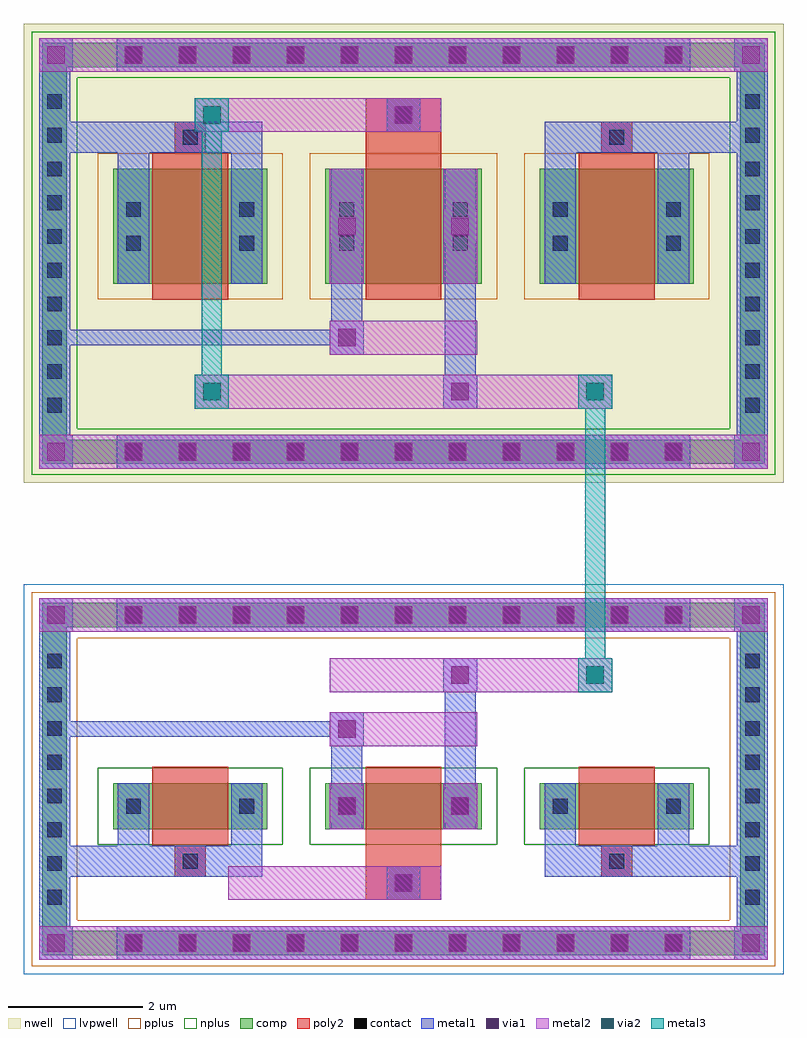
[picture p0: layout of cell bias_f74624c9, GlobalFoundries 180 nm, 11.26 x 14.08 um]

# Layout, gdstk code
import gdstk
lib = gdstk.Library(unit=1e-6, precision=5e-09)
def R(c, l, rs):  # rectangles x0, y0, x1, y1
    for r in rs: c.add(gdstk.rectangle(r[:2], r[2:], *l))
def A(c, l, x, y, w, h, nx, ny, dx, dy):  # array of equal rectangles
    R(c, l, [(x+i*dx, y+j*dy, x+i*dx+w, y+j*dy+h) for i in range(nx) for j in range(ny)])
def P(c, l, *ps):  # polygons
    for p in ps: c.add(gdstk.Polygon(p, *l))
nwell = (21, 0)
comp = (22, 0)
poly2 = (30, 0)
pplus = (31, 0)
nplus = (32, 0)
contact = (33, 0)
metal1 = (34, 0)
via1 = (35, 0)
metal2 = (36, 0)
via2 = (38, 0)
metal3 = (42, 0)
lvpwell = (204, 0)

bias_f74624c9 = lib.new_cell('bias_f74624c9')
R(bias_f74624c9, nwell, [(-5.63,4.39,5.63,11.19), (-5.47,4.55,5.47,11.03)])
A(bias_f74624c9, comp, -4.18, -2.61, 0.36, 0.36, 11, 2, 0.8, 4.86)
A(bias_f74624c9, comp, -5.35, -1.93, 0.36, 0.36, 1, 8, 0, 0.5)
A(bias_f74624c9, comp, 4.99, -1.93, 0.36, 0.36, 1, 8, 0, 0.5)
A(bias_f74624c9, comp, -4.18, 4.67, 0.36, 0.36, 11, 2, 0.8, 5.88)
A(bias_f74624c9, comp, -5.35, 5.36, 0.36, 0.36, 1, 10, 0, 0.5)
A(bias_f74624c9, comp, 4.99, 5.36, 0.36, 0.36, 1, 10, 0, 0.5)
R(bias_f74624c9, comp, [(-4.18,-2.61,4.18,-2.25), (-5.35,-1.93,-4.99,1.93), (4.99,-1.93,5.35,1.93), (-4.3,-0.74,-2.02,-0.06), (-1.16,-0.74,1.16,-0.06), (2.02,-0.74,4.3,-0.06), (-4.18,2.25,4.18,2.61), (-4.18,4.67,4.18,5.03), (-5.35,5.36,-4.99,10.22), (4.99,5.36,5.35,10.22), (-4.3,7.34,-2.02,9.04), (-1.16,7.34,1.16,9.04), (2.02,7.34,4.3,9.04), (-4.18,10.55,4.18,10.91)])
P(bias_f74624c9, comp, [(5.35,2.61),(-5.35,2.61),(-5.35,-2.25),(-4.99,-2.25),(-4.99,2.25),(4.99,2.25),(4.99,-2.25),(-4.99,-2.25),(-5.35,-2.25),(-5.35,-2.61),(5.35,-2.61)],
  [(5.35,4.67),(-5.35,4.67),(-5.35,10.55),(-4.99,10.55),(-4.99,5.03),(4.99,5.03),(4.99,10.55),(-4.99,10.55),(-5.35,10.55),(-5.35,10.91),(5.35,10.91)])
A(bias_f74624c9, poly2, -3.72, -0.985, 1.12, 1.17, 3, 1, 3.16, 0)
A(bias_f74624c9, poly2, -3.72, 7.1, 1.12, 2.18, 3, 1, 3.16, 0)
R(bias_f74624c9, poly2, [(-0.56,-1.79,0.56,-1.29), (-0.18,-1.72,0.18,-1.36), (-3.39,-1.445,-2.93,-0.985), (2.93,-1.445,3.39,-0.985), (-3.34,-1.395,-2.98,-1.035), (2.98,-1.395,3.34,-1.035), (-0.56,-1.29,0.56,-0.985), (-3.39,9.28,-2.93,9.74), (-0.56,9.28,0.56,9.59), (2.93,9.28,3.39,9.74), (-3.34,9.33,-2.98,9.69), (2.98,9.33,3.34,9.69), (-0.56,9.59,0.56,10.09), (-0.18,9.66,0.18,10.02)])
R(bias_f74624c9, pplus, [(-4.53,7.11,-1.79,9.27), (-1.39,7.11,1.39,9.27), (1.79,7.11,4.53,9.27)])
P(bias_f74624c9, pplus, [(5.51,2.77),(-5.51,2.77),(-5.51,-2.09),(-4.83,-2.09),(-4.83,2.09),(4.83,2.09),(4.83,-2.09),(-4.83,-2.09),(-5.51,-2.09),(-5.51,-2.77),(5.51,-2.77)])
R(bias_f74624c9, nplus, [(-4.53,-0.97,-1.79,0.17), (-1.39,-0.97,1.39,0.17), (1.79,-0.97,4.53,0.17)])
P(bias_f74624c9, nplus, [(5.51,4.51),(-5.51,4.51),(-5.51,10.39),(-4.83,10.39),(-4.83,5.19),(4.83,5.19),(4.83,10.39),(-4.83,10.39),(-5.51,10.39),(-5.51,11.07),(5.51,11.07)])
A(bias_f74624c9, contact, -4.11, -2.54, 0.22, 0.22, 11, 2, 0.8, 4.86)
A(bias_f74624c9, contact, -5.28, -1.86, 0.22, 0.22, 1, 8, 0, 0.5)
A(bias_f74624c9, contact, 5.06, -1.86, 0.22, 0.22, 1, 8, 0, 0.5)
A(bias_f74624c9, contact, -4.11, 4.74, 0.22, 0.22, 11, 2, 0.8, 5.88)
A(bias_f74624c9, contact, -5.28, 5.43, 0.22, 0.22, 1, 10, 0, 0.5)
A(bias_f74624c9, contact, 5.06, 5.43, 0.22, 0.22, 1, 10, 0, 0.5)
R(bias_f74624c9, contact, [(-0.11,-1.65,0.11,-1.43), (-3.27,-1.325,-3.05,-1.105), (3.05,-1.325,3.27,-1.105), (-4.11,-0.51,-3.89,-0.29), (-2.43,-0.51,-2.21,-0.29), (-0.95,-0.51,-0.73,-0.29), (0.73,-0.51,0.95,-0.29), (2.21,-0.51,2.43,-0.29), (3.89,-0.51,4.11,-0.29), (-4.11,7.83,-3.89,8.05), (-2.43,7.83,-2.21,8.05), (-0.95,7.83,-0.73,8.05), (0.73,7.83,0.95,8.05), (2.21,7.83,2.43,8.05), (3.89,7.83,4.11,8.05), (-4.11,8.33,-3.89,8.55), (-2.43,8.33,-2.21,8.55), (-0.95,8.33,-0.73,8.55), (0.73,8.33,0.95,8.55), (2.21,8.33,2.43,8.55), (3.89,8.33,4.11,8.55), (-3.27,9.4,-3.05,9.62), (3.05,9.4,3.27,9.62), (-0.11,9.73,0.11,9.95)])
A(bias_f74624c9, metal1, -4.25, -2.68, 0.5, 0.5, 11, 2, 0.8, 4.86)
A(bias_f74624c9, metal1, -5.4, -1.98, 0.46, 0.46, 1, 8, 0, 0.5)
A(bias_f74624c9, metal1, 4.94, -1.98, 0.46, 0.46, 1, 8, 0, 0.5)
A(bias_f74624c9, metal1, -4.25, 4.6, 0.5, 0.5, 11, 2, 0.8, 5.88)
A(bias_f74624c9, metal1, -5.4, 5.31, 0.46, 0.46, 1, 10, 0, 0.5)
A(bias_f74624c9, metal1, 4.94, 5.31, 0.46, 0.46, 1, 10, 0, 0.5)
R(bias_f74624c9, metal1, [(-5.4,-2.68,-4.9,-2.18), (-5.4,-2.68,-4.9,-2.18), (-5.4,-2.68,-4.94,-2.25), (-4.25,-2.68,4.25,-2.18), (4.9,-2.68,5.4,-2.18), (4.9,-2.68,5.4,-2.18), (4.94,-2.68,5.4,-2.25), (-5.4,-2.25,-4.94,2.25), (4.94,-2.25,5.4,2.25), (-0.25,-1.79,0.25,-1.29), (-5.4,-1.445,-3.39,-0.985), (-4.23,-1.445,-3.39,-0.985), (-4.23,-1.445,-3.77,-0.74), (-3.39,-1.445,-2.93,-0.985), (-2.93,-1.445,-2.09,-0.985), (-2.55,-1.445,-2.09,-0.74), (2.09,-1.445,2.93,-0.985), (2.09,-1.445,2.55,-0.74), (2.93,-1.445,3.39,-0.985), (2.93,-1.445,5.4,-0.985), (3.39,-1.445,4.23,-0.985), (3.77,-1.445,4.23,-0.74), (-4.23,-0.74,-3.77,-0.06), (-2.55,-0.74,-2.09,-0.06), (-1.07,-0.74,-0.61,-0.06), (0.61,-0.74,1.07,-0.06), (2.09,-0.74,2.55,-0.06), (3.77,-0.74,4.23,-0.06), (-1.09,-0.65,-0.59,-0.15), (-1.09,-0.65,-0.59,-0.15), (0.59,-0.65,1.09,-0.15), (0.59,-0.65,1.09,-0.15), (-4.23,-0.63,-3.77,-0.17), (-2.55,-0.63,-2.09,-0.17), (-1.07,-0.63,-0.61,-0.17), (0.61,-0.63,1.07,-0.17), (2.09,-0.63,2.55,-0.17), (3.77,-0.63,4.23,-0.17), (-1.07,-0.06,-0.61,0.99), (0.61,-0.06,1.07,1.79), (-1.09,0.49,-0.59,0.99), (-1.09,0.49,-0.59,0.99), (-1.09,0.49,-0.59,0.99), (-5.4,0.625,-1.09,0.855), (0.59,1.29,1.09,1.79), (-5.4,2.18,-4.9,2.68), (-5.4,2.18,-4.9,2.68), (-4.25,2.18,4.25,2.68), (4.9,2.18,5.4,2.68), (4.9,2.18,5.4,2.68), (-5.4,2.25,-4.94,2.68), (4.94,2.25,5.4,2.68), (-5.4,4.6,-4.9,5.1), (-5.4,4.6,-4.9,5.1), (-5.4,4.6,-4.94,5.03), (-4.25,4.6,4.25,5.1), (4.9,4.6,5.4,5.1), (4.9,4.6,5.4,5.1), (4.94,4.6,5.4,5.03), (-5.4,5.03,-4.94,10.55), (4.94,5.03,5.4,10.55), (0.59,5.49,1.09,5.99), (0.61,5.49,1.07,7.34), (-1.09,6.29,-0.59,6.79), (-1.09,6.29,-0.59,6.79), (-1.09,6.29,-0.59,6.79), (-1.07,6.29,-0.61,7.34), (-5.4,6.425,-1.09,6.655), (-4.23,7.34,-3.77,9.04), (-2.55,7.34,-2.09,9.04), (-1.07,7.34,-0.61,9.04), (0.61,7.34,1.07,9.04), (2.09,7.34,2.55,9.04), (3.77,7.34,4.23,9.04), (-4.23,7.71,-3.77,8.17), (-2.55,7.71,-2.09,8.17), (-1.07,7.71,-0.61,8.17), (0.61,7.71,1.07,8.17), (2.09,7.71,2.55,8.17), (3.77,7.71,4.23,8.17), (-1.09,7.94,-0.59,8.44), (-1.09,7.94,-0.59,8.44), (0.59,7.94,1.09,8.44), (0.59,7.94,1.09,8.44), (-4.23,8.21,-3.77,8.67), (-2.55,8.21,-2.09,8.67), (-1.07,8.21,-0.61,8.67), (0.61,8.21,1.07,8.67), (2.09,8.21,2.55,8.67), (3.77,8.21,4.23,8.67), (-4.23,9.04,-3.77,9.74), (-2.55,9.04,-2.09,9.74), (2.09,9.04,2.55,9.74), (3.77,9.04,4.23,9.74), (-5.4,9.28,-3.39,9.74), (-4.23,9.28,-3.39,9.74), (-3.39,9.28,-2.93,9.74), (-2.93,9.28,-2.09,9.74), (2.09,9.28,2.93,9.74), (2.93,9.28,3.39,9.74), (2.93,9.28,5.4,9.74), (3.39,9.28,4.23,9.74), (-0.25,9.59,0.25,10.09), (-5.4,10.48,-4.9,10.98), (-5.4,10.48,-4.9,10.98), (-4.25,10.48,4.25,10.98), (4.9,10.48,5.4,10.98), (4.9,10.48,5.4,10.98), (-5.4,10.55,-4.94,10.98), (4.94,10.55,5.4,10.98)])
A(bias_f74624c9, via1, -4.13, -2.56, 0.26, 0.26, 11, 2, 0.8, 4.86)
A(bias_f74624c9, via1, -4.13, 4.72, 0.26, 0.26, 11, 2, 0.8, 5.88)
R(bias_f74624c9, via1, [(-5.28,-2.56,-5.02,-2.3), (5.02,-2.56,5.28,-2.3), (-0.13,-1.67,0.13,-1.41), (-0.97,-0.53,-0.71,-0.27), (0.71,-0.53,0.97,-0.27), (-0.97,0.61,-0.71,0.87), (-0.97,0.61,-0.71,0.87), (0.71,1.41,0.97,1.67), (-5.28,2.3,-5.02,2.56), (5.02,2.3,5.28,2.56), (-5.28,4.72,-5.02,4.98), (5.02,4.72,5.28,4.98), (0.71,5.61,0.97,5.87), (-0.97,6.41,-0.71,6.67), (-0.97,6.41,-0.71,6.67), (-0.97,8.06,-0.71,8.32), (0.71,8.06,0.97,8.32), (-0.13,9.71,0.13,9.97), (-5.28,10.6,-5.02,10.86), (5.02,10.6,5.28,10.86)])
A(bias_f74624c9, metal2, -4.25, -2.68, 0.5, 0.5, 11, 2, 0.8, 4.86)
A(bias_f74624c9, metal2, -4.25, 4.6, 0.5, 0.5, 11, 2, 0.8, 5.88)
R(bias_f74624c9, metal2, [(-5.4,-2.68,-4.9,-2.18), (-5.4,-2.68,-4.9,-2.18), (-5.4,-2.68,-4.99,-2.18), (-4.99,-2.68,4.99,-2.18), (4.9,-2.68,5.4,-2.18), (4.9,-2.68,5.4,-2.18), (4.99,-2.68,5.4,-2.18), (-2.6,-1.79,-0.56,-1.29), (-0.56,-1.79,0.56,-1.29), (-0.25,-1.79,0.25,-1.29), (-1.09,-0.74,-0.59,-0.06), (0.59,-0.74,1.09,-0.06), (-1.09,-0.65,-0.59,-0.15), (0.59,-0.65,1.09,-0.15), (-1.09,0.49,-0.59,0.99), (-1.09,0.49,-0.59,0.99), (-1.09,0.49,1.09,0.99), (-1.09,1.29,1.09,1.79), (0.59,1.29,1.09,1.79), (1.09,1.29,3.09,1.79), (2.59,1.29,3.09,1.79), (-5.4,2.18,-4.9,2.68), (-5.4,2.18,-4.9,2.68), (-5.4,2.18,-4.99,2.68), (-4.99,2.18,4.99,2.68), (4.9,2.18,5.4,2.68), (4.9,2.18,5.4,2.68), (4.99,2.18,5.4,2.68), (-5.4,4.6,-4.9,5.1), (-5.4,4.6,-4.9,5.1), (-5.4,4.6,-4.99,5.1), (-4.99,4.6,4.99,5.1), (4.9,4.6,5.4,5.1), (4.9,4.6,5.4,5.1), (4.99,4.6,5.4,5.1), (-3.09,5.49,-2.59,5.99), (-3.09,5.49,-1.09,5.99), (-1.09,5.49,1.09,5.99), (0.59,5.49,1.09,5.99), (1.09,5.49,3.09,5.99), (2.59,5.49,3.09,5.99), (-1.09,6.29,-0.59,6.79), (-1.09,6.29,-0.59,6.79), (-1.09,6.29,1.09,6.79), (-1.09,7.34,-0.59,9.04), (0.59,7.34,1.09,9.04), (-1.09,7.94,-0.59,8.44), (0.59,7.94,1.09,8.44), (-3.09,9.59,-2.59,10.09), (-3.09,9.59,-0.56,10.09), (-0.56,9.59,0.56,10.09), (-0.25,9.59,0.25,10.09), (-5.4,10.48,-4.9,10.98), (-5.4,10.48,-4.9,10.98), (-5.4,10.48,-4.99,10.98), (-4.99,10.48,4.99,10.98), (4.9,10.48,5.4,10.98), (4.9,10.48,5.4,10.98), (4.99,10.48,5.4,10.98)])
R(bias_f74624c9, via2, [(2.71,1.41,2.97,1.67), (-2.97,5.61,-2.71,5.87), (2.71,5.61,2.97,5.87), (-2.97,9.71,-2.71,9.97)])
R(bias_f74624c9, metal3, [(2.59,1.29,3.09,1.79), (2.59,1.29,3.09,1.79), (2.69,1.29,2.99,5.99), (2.99,1.29,3.09,1.79), (-3.09,5.49,-2.59,5.99), (-3.09,5.49,-2.59,5.99), (-2.99,5.49,-2.69,10.09), (-2.69,5.49,-2.59,5.99), (2.59,5.49,3.09,5.99), (2.59,5.49,3.09,5.99), (2.99,5.49,3.09,5.99), (-3.09,9.59,-2.59,10.09), (-3.09,9.59,-2.59,10.09), (-2.69,9.59,-2.59,10.09)])
R(bias_f74624c9, lvpwell, [(-5.63,-2.89,5.63,2.89)])

lib.write_gds('bias_f74624c9.gds')
